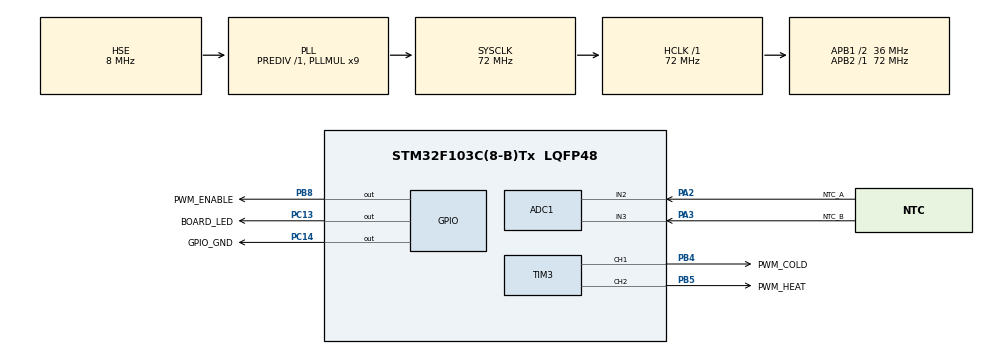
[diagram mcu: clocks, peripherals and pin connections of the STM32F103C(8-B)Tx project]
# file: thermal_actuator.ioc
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ADC1.Channel-0\#ChannelRegularConversion=ADC_CHANNEL_2
ADC1.Channel-1\#ChannelRegularConversion=ADC_CHANNEL_3
ADC1.ContinuousConvMode=ENABLE
ADC1.NbrOfConversion=2
ADC1.NbrOfConversionFlag=1
ADC1.Rank-0\#ChannelRegularConversion=1
ADC1.Rank-1\#ChannelRegularConversion=2
ADC1.SamplingTime-0\#ChannelRegularConversion=ADC_SAMPLETIME_239CYCLES_5
ADC1.SamplingTime-1\#ChannelRegularConversion=ADC_SAMPLETIME_239CYCLES_5
ADC1.master=1
Dma.ADC1.0.Direction=DMA_PERIPH_TO_MEMORY
Dma.ADC1.0.Instance=DMA1_Channel1
Dma.ADC1.0.MemDataAlignment=DMA_MDATAALIGN_WORD
Dma.ADC1.0.MemInc=DMA_MINC_ENABLE
Dma.ADC1.0.Mode=DMA_CIRCULAR
Dma.ADC1.0.PeriphDataAlignment=DMA_PDATAALIGN_WORD
Dma.ADC1.0.PeriphInc=DMA_PINC_DISABLE
Dma.ADC1.0.Priority=DMA_PRIORITY_LOW
Dma.Request0=ADC1
Mcu.Family=STM32F1
Mcu.Name=STM32F103C(8-B)Tx
Mcu.Package=LQFP48
NVIC.DMA1_Channel1_IRQn=true\:0\:0\:false\:false\:true\:false\:true\:true
NVIC.PriorityGroup=NVIC_PRIORITYGROUP_4
PA13.Mode=Serial_Wire
PA13.Signal=SYS_JTMS-SWDIO
PA14.Mode=Serial_Wire
PA14.Signal=SYS_JTCK-SWCLK
PA2.GPIO_Label=NTC_A
PA2.Signal=ADCx_IN2
PA3.GPIO_Label=NTC_B
PA3.Signal=ADCx_IN3
PB4.GPIO_Label=PWM_COLD
PB4.Signal=S_TIM3_CH1
PB5.GPIO_Label=PWM_HEAT
PB5.Signal=S_TIM3_CH2
PB8.GPIO_Label=PWM_ENABLE
PB8.GPIO_ModeDefaultOutputPP=GPIO_MODE_OUTPUT_OD
PB8.GPIO_PuPd=GPIO_PULLUP
PB8.PinState=GPIO_PIN_RESET
PB8.Signal=GPIO_Output
PC13-TAMPER-RTC.GPIO_Label=BOARD_LED
PC13-TAMPER-RTC.Signal=GPIO_Output
PC14-OSC32_IN.GPIO_Label=GPIO_GND
PC14-OSC32_IN.GPIO_ModeDefaultOutputPP=GPIO_MODE_OUTPUT_OD
PC14-OSC32_IN.GPIO_PuPd=GPIO_NOPULL
PC14-OSC32_IN.PinState=GPIO_PIN_SET
PC14-OSC32_IN.Signal=GPIO_Output
PD0-OSC_IN.Mode=HSE-External-Oscillator
PD0-OSC_IN.Signal=RCC_OSC_IN
PD1-OSC_OUT.Mode=HSE-External-Oscillator
PD1-OSC_OUT.Signal=RCC_OSC_OUT
ProjectManager.HeapSize=0x200
ProjectManager.StackSize=0x400
ProjectManager.TargetToolchain=STM32CubeIDE
RCC.ADCPresc=RCC_ADCPCLK2_DIV6
RCC.AHBFreq_Value=72000000
RCC.APB1CLKDivider=RCC_HCLK_DIV2
RCC.APB1Freq_Value=36000000
RCC.APB1TimFreq_Value=72000000
RCC.APB2Freq_Value=72000000
RCC.APB2TimFreq_Value=72000000
RCC.HCLKFreq_Value=72000000
RCC.PLLMUL=RCC_PLL_MUL9
RCC.PLLSourceVirtual=RCC_PLLSOURCE_HSE
RCC.SYSCLKFreq_VALUE=72000000
RCC.SYSCLKSource=RCC_SYSCLKSOURCE_PLLCLK
RCC.USBFreq_Value=72000000
SH.ADCx_IN2.0=ADC1_IN2,IN2
SH.ADCx_IN3.0=ADC1_IN3,IN3
SH.S_TIM3_CH1.0=TIM3_CH1,PWM Generation1 CH1
SH.S_TIM3_CH2.0=TIM3_CH2,PWM Generation2 CH2
TIM1.AutoReloadPreload=TIM_AUTORELOAD_PRELOAD_ENABLE
TIM1.ClockDivision=TIM_CLOCKDIVISION_DIV1
TIM1.Period=10  - 1
TIM1.Prescaler=7200  - 1
TIM3.AutoReloadPreload=TIM_AUTORELOAD_PRELOAD_ENABLE
TIM3.Channel-PWM\ Generation1\ CH1=TIM_CHANNEL_1
TIM3.Channel-PWM\ Generation2\ CH2=TIM_CHANNEL_2
VP_TIM1_VS_ClockSourceINT.Mode=Internal
board=custom

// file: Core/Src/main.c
/* USER CODE BEGIN Header */
/**
 ******************************************************************************
 * @file           : main.c
 * @brief          : Main program body
 ******************************************************************************
 * @attention
 *
 * Copyright (c) 2025 STMicroelectronics.
 * All rights reserved.
 *
 * This software is licensed under terms that can be found in the LICENSE file
 * in the root directory of this software component.
 * If no LICENSE file comes with this software, it is provided AS-IS.
 *
 ******************************************************************************
 */
/* USER CODE END Header */
#include "main.h"

#include "adc.h"
#include "dma.h"
#include "gpio.h"
#include "tim.h"

/* USER CODE BEGIN Includes */

#include <stdbool.h>
#include <string.h>

/* USER CODE END Includes */

/* USER CODE BEGIN PTD */

enum sensor_id {
    SENSOR_A = 0,
    SENSOR_B,

    SENSOR_AMOUNT,
};

/* USER CODE END PTD */

/* USER CODE BEGIN PD */

/**
 * @brief Peso da última leitura do ADC, para atenuação e média móvel.
 */
#define LAST_MEASURE_WEIGHT 0.999f

/* USER CODE END PD */

/* USER CODE BEGIN PV */

static struct control_area {
    /* O bloco de dados para controle e o id devem estar nesta ordem, para acesso direto de memória pelo computador. */
    volatile struct {
        char id[4];
        float adc_measures[SENSOR_AMOUNT];
        float duty_cycle;
    } data;
} control = {
        .data =
                {
                        .id =
                                {
                                        '!',
                                        'C',
                                        'T',
                                        'R',
                                },
                },
};

/** ADC DMA buffer. */
static uint32_t adc_dma_buffer[SENSOR_AMOUNT];

/* USER CODE END PV */

void SystemClock_Config(void);

int main(void) {

    /* MCU Configuration--------------------------------------------------------*/

    /* Reset of all peripherals, Initializes the Flash interface and the Systick. */
    HAL_Init();

    /* Configure the system clock */
    SystemClock_Config();

    /* Initialize all configured peripherals */
    MX_GPIO_Init();
    MX_DMA_Init();
    MX_ADC1_Init();
    MX_TIM3_Init();
    MX_TIM1_Init();
    /* USER CODE BEGIN 2 */

    HAL_GPIO_WritePin(GPIO_GND_GPIO_Port, GPIO_GND_Pin, GPIO_PIN_RESET);
    HAL_TIM_PWM_Start(&htim3, TIM_CHANNEL_1);
    HAL_TIM_PWM_Start(&htim3, TIM_CHANNEL_2);
    HAL_ADC_Start_DMA(&hadc1, adc_dma_buffer, SENSOR_AMOUNT);

    /* USER CODE END 2 */

    /* Infinite loop */
    while (1) {

        /* USER CODE BEGIN 3 */

        /* Controla o PWM conforme a leitura da memória. */
        if (control.data.duty_cycle < 0) {
            TIM3->CCR1 = (uint32_t) (((control.data.duty_cycle * TIM3->ARR) / -100.0f) + 0.5f);
            TIM3->CCR2 = 0;
        } else {
            TIM3->CCR1 = 0;
            TIM3->CCR2 = (uint32_t) (((control.data.duty_cycle * TIM3->ARR) / 100.0f) + 0.5f);
        }
    }
    /* USER CODE END 3 */
}

void SystemClock_Config(void) {
    RCC_OscInitTypeDef RCC_OscInitStruct = {0};
    RCC_ClkInitTypeDef RCC_ClkInitStruct = {0};
    RCC_PeriphCLKInitTypeDef PeriphClkInit = {0};

    /** Initializes the RCC Oscillators according to the specified parameters
     * in the RCC_OscInitTypeDef structure.
     */
    RCC_OscInitStruct.OscillatorType = RCC_OSCILLATORTYPE_HSE;
    RCC_OscInitStruct.HSEState = RCC_HSE_ON;
    RCC_OscInitStruct.HSEPredivValue = RCC_HSE_PREDIV_DIV1;
    RCC_OscInitStruct.HSIState = RCC_HSI_ON;
    RCC_OscInitStruct.PLL.PLLState = RCC_PLL_ON;
    RCC_OscInitStruct.PLL.PLLSource = RCC_PLLSOURCE_HSE;
    RCC_OscInitStruct.PLL.PLLMUL = RCC_PLL_MUL9;
    if (HAL_RCC_OscConfig(&RCC_OscInitStruct) != HAL_OK) {
        Error_Handler();
    }

    /** Initializes the CPU, AHB and APB buses clocks
     */
    RCC_ClkInitStruct.ClockType = RCC_CLOCKTYPE_HCLK | RCC_CLOCKTYPE_SYSCLK | RCC_CLOCKTYPE_PCLK1 | RCC_CLOCKTYPE_PCLK2;
    RCC_ClkInitStruct.SYSCLKSource = RCC_SYSCLKSOURCE_PLLCLK;
    RCC_ClkInitStruct.AHBCLKDivider = RCC_SYSCLK_DIV1;
    RCC_ClkInitStruct.APB1CLKDivider = RCC_HCLK_DIV2;
    RCC_ClkInitStruct.APB2CLKDivider = RCC_HCLK_DIV1;

    if (HAL_RCC_ClockConfig(&RCC_ClkInitStruct, FLASH_LATENCY_2) != HAL_OK) {
        Error_Handler();
    }
    PeriphClkInit.PeriphClockSelection = RCC_PERIPHCLK_ADC;
    PeriphClkInit.AdcClockSelection = RCC_ADCPCLK2_DIV6;
    if (HAL_RCCEx_PeriphCLKConfig(&PeriphClkInit) != HAL_OK) {
        Error_Handler();
    }
}

/* USER CODE BEGIN 4 */

void HAL_ADC_ConvCpltCallback(ADC_HandleTypeDef* hadc) {
    for (enum sensor_id sensor_id = 0; sensor_id < SENSOR_AMOUNT; sensor_id++) {
        const uint16_t adc_measure = adc_dma_buffer[sensor_id];

        if (adc_measure > 4095) {
            continue;
        }

        control.data.adc_measures[sensor_id] = (LAST_MEASURE_WEIGHT * control.data.adc_measures[sensor_id]) +
                                               ((1 - LAST_MEASURE_WEIGHT) * adc_measure);
    }
}

/* USER CODE END 4 */

void Error_Handler(void) {
    /* USER CODE BEGIN Error_Handler_Debug */
    /* User can add his own implementation to report the HAL error return state */
    __disable_irq();
    while (1) {
        HAL_GPIO_TogglePin(BOARD_LED_GPIO_Port, BOARD_LED_Pin);
        HAL_Delay(500);
    }
    /* USER CODE END Error_Handler_Debug */
}
